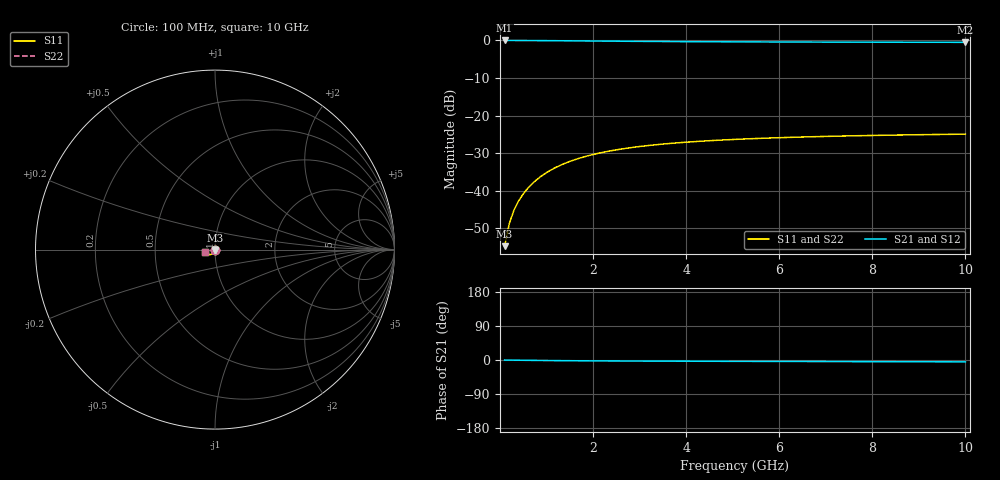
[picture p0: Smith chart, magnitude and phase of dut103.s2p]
! Touchstone file exported from HFSS 2024.1.0
!  File:  C:/UserFiles/LocalFiles/RDL_TSV_Batchsim/temp_TSV1_103_1778752313.aedt
!  Generated:  05:56:29 PM May 14, 2026
!  Design:  TSV1
!  Project:  temp_TSV1_103_1778752313
!  Setup:  Setup1
!  Solution:  Sweep
! Variables:
!  dtsv = 16.06um
!  hbump = 3um
!  htsv = 71.94um
!  lrdl = 252.1521522um
!  p = 40
!  p1 = 57.07um
!  t = 500um
!  trdl = 3um
!  wrdl = 24.89489489um
# GHz S MA R 50.000000
! Terminal data exported
! Port[1] = TSV22_T1
! Port[2] = TSV22_T2
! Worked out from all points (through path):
!   100 points, 100 MHz to 10 GHz, reference 50 ohm
!   highest |S21| = 0.00 dB at 100 MHz (marker M1); lowest = -0.5 dB at 10 GHz (marker M2)
!   lowest |S11| = -54.7 dB at 100 MHz (marker M3), VSWR 1.00, Z = 50 - j0.183 ohm
!   |S11| at or under -10 dB: start of sweep to end of sweep
!   |S22| runs from -54.7 to -24.9 dB; largest |S21 - S12| = 5e-15
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0.1  0.001831 -89.8  0.9999 -0.1  0.9999 -0.1  0.001831 -89.8
! Gamma 0 0 0 0
! Port Impedance 50 0 50 0
0.2  0.003664 -92.6  0.9997 -0.3  0.9997 -0.3  0.003664 -92.6
0.3  0.005491 -94.9  0.9993 -0.4  0.9993 -0.4  0.005491 -94.9
0.4  0.0073 -97.1  0.9989 -0.6  0.9989 -0.6  0.0073 -97.1
0.5  0.009084 -99.2  0.9983 -0.7  0.9983 -0.7  0.009084 -99.2
0.6  0.01084 -101.2  0.9976 -0.9  0.9976 -0.9  0.01084 -101.2
0.7  0.01255 -103.1  0.9969 -1.0  0.9969 -1.0  0.01255 -103.1
0.8  0.01422 -105.0  0.9961 -1.1  0.9961 -1.1  0.01422 -105.0
0.9  0.01585 -106.9  0.9952 -1.2  0.9952 -1.2  0.01585 -106.9
1.1  0.01896 -110.4  0.9932 -1.5  0.9932 -1.5  0.01896 -110.4
1.4  0.02323 -115.4  0.9899 -1.8  0.9899 -1.8  0.02323 -115.4
1.6  0.02581 -118.5  0.9876 -2.0  0.9876 -2.0  0.02581 -118.5
1.8  0.02819 -121.4  0.9853 -2.1  0.9853 -2.1  0.02819 -121.4
2.1  0.03138 -125.3  0.9819 -2.3  0.9819 -2.3  0.03138 -125.3
2.5  0.03503 -130.0  0.9776 -2.6  0.9776 -2.6  0.03503 -130.0
2.9  0.03809 -134.1  0.9736 -2.8  0.9736 -2.8  0.03809 -134.1
3.4  0.04124 -138.5  0.9693 -3.0  0.9693 -3.0  0.04124 -138.5
4.2  0.04515 -144.4  0.9635 -3.3  0.9635 -3.3  0.04515 -144.4
5.1  0.04839 -149.6  0.9584 -3.5  0.9584 -3.5  0.04839 -149.6
6.7  0.05231 -156.7  0.952 -4.0  0.952 -4.0  0.05231 -156.7
8.4  0.05497 -162.4  0.9474 -4.4  0.9474 -4.4  0.05497 -162.4
10  0.05665 -166.6  0.9445 -4.9  0.9445 -4.9  0.05665 -166.6
